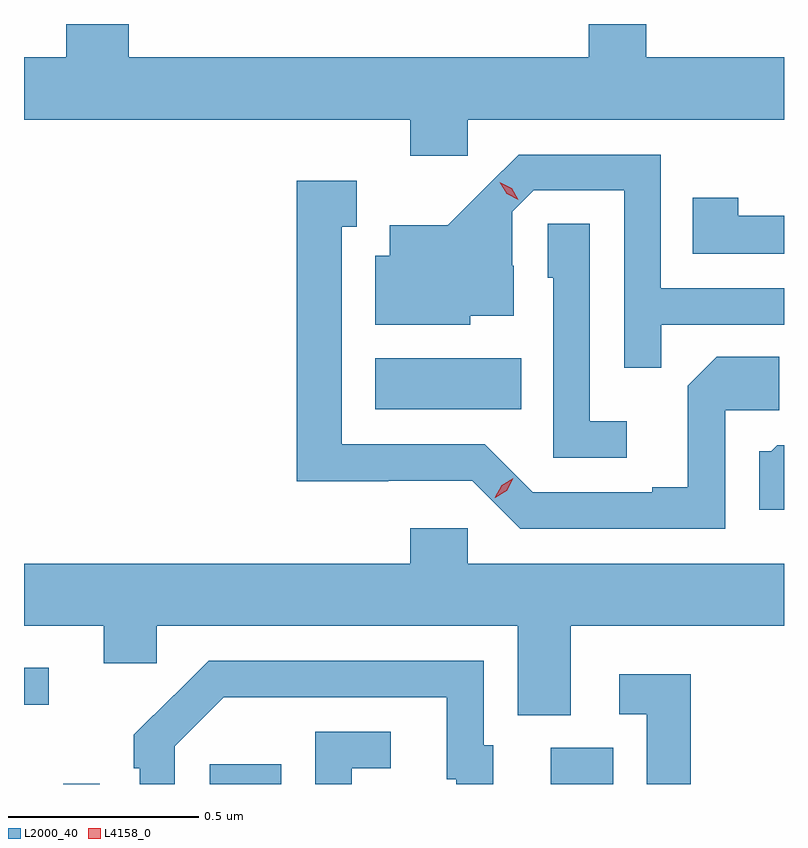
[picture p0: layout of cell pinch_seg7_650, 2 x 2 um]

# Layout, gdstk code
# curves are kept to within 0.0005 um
import gdstk
lib = gdstk.Library(unit=1e-6, precision=1e-09)
def R(c, l, rs):  # rectangles x0, y0, x1, y1
    for r in rs: c.add(gdstk.rectangle(r[:2], r[2:], *l))
def P(c, l, *ps):  # polygons
    for p in ps: c.add(gdstk.Polygon(p, *l))
L2000_40 = (2000, 40)
L4158_0 = (4158, 0)

pinch_seg7_650 = lib.new_cell('pinch_seg7_650')
R(pinch_seg7_650, L2000_40, [(153.867,1037.496,153.963,1037.497), (154.253,1037.496,154.441,1037.548), (155.15,1037.496,155.314,1037.592), (153.764,1037.705,153.829,1037.802), (154.688,1038.482,155.072,1038.616)])
P(pinch_seg7_650, L2000_40, [(154.932,1039.244),(155.764,1039.244),(155.764,1039.408),(155.402,1039.408),(155.402,1039.496),(155.25,1039.496),(155.25,1039.408),(154.04,1039.408),(154.04,1039.496),(153.875,1039.496),(153.875,1039.408),(153.764,1039.408),(153.764,1039.244),(154.781,1039.244),(154.781,1039.149),(154.932,1039.149)],
  [(155.441,1038.705),(155.764,1038.705),(155.764,1038.801),(155.439,1038.801),(155.439,1039.152),(155.066,1039.152),(154.879,1038.967),(154.727,1038.967),(154.727,1038.886),(154.688,1038.886),(154.688,1038.704),(154.938,1038.704),(154.938,1038.728),(155.053,1038.728),(155.053,1038.86),(155.049,1038.86),(155.049,1039.002),(155.106,1039.059),(155.343,1039.059),(155.343,1038.592),(155.441,1038.592)],
  [(155.61,1038.48),(155.752,1038.48),(155.752,1038.62),(155.587,1038.62),(155.511,1038.544),(155.511,1038.277),(155.417,1038.277),(155.417,1038.264),(155.103,1038.264),(154.977,1038.39),(154.6,1038.39),(154.6,1038.963),(154.639,1038.963),(154.639,1039.084),(154.482,1039.084),(154.482,1038.293),(154.722,1038.293),(154.722,1038.294),(154.944,1038.294),(155.07,1038.168),(155.61,1038.168)],
  [(155.764,1038.992),(155.643,1038.992),(155.643,1039.039),(155.524,1039.039),(155.524,1038.891),(155.764,1038.891)],
  [(155.35,1038.451),(155.253,1038.451),(155.253,1038.971),(155.142,1038.971),(155.142,1038.828),(155.157,1038.828),(155.157,1038.354),(155.35,1038.354)],
  [(155.764,1038.388),(155.746,1038.388),(155.73,1038.372),(155.699,1038.372),(155.699,1038.218),(155.764,1038.218)],
  [(155.203,1037.912),(155.764,1037.912),(155.764,1038.076),(154.932,1038.076),(154.932,1038.169),(154.781,1038.169),(154.781,1038.076),(153.764,1038.076),(153.764,1037.912),(153.974,1037.912),(153.974,1037.814),(154.113,1037.814),(154.113,1037.912),(155.063,1037.912),(155.063,1037.677),(155.203,1037.677)],
  [(154.161,1037.595),(154.29,1037.724),(154.877,1037.724),(154.877,1037.508),(154.901,1037.508),(154.901,1037.496),(154.999,1037.496),(154.999,1037.598),(154.974,1037.598),(154.974,1037.82),(154.25,1037.82),(154.159,1037.729),(154.158,1037.73),(154.053,1037.625),(154.053,1037.537),(154.068,1037.537),(154.068,1037.496),(154.161,1037.496)],
  [(155.519,1037.785),(155.331,1037.785),(155.331,1037.679),(155.403,1037.679),(155.403,1037.496),(155.519,1037.496)],
  [(154.626,1037.538),(154.729,1037.538),(154.729,1037.634),(154.53,1037.634),(154.53,1037.496),(154.626,1037.496)])
P(pinch_seg7_650, L4158_0, [(155.064,1039.034),(155.034,1039.049),(155.016,1039.079),(155.016,1039.079),(155.016,1039.079),(155.047,1039.064),(155.065,1039.034),(155.065,1039.034)],
  [(155.003,1038.249),(155.003,1038.249),(155.021,1038.282),(155.052,1038.301),(155.052,1038.301),(155.052,1038.301),(155.035,1038.268),(155.004,1038.249)])

lib.write_gds('pinch_seg7_650.gds')
